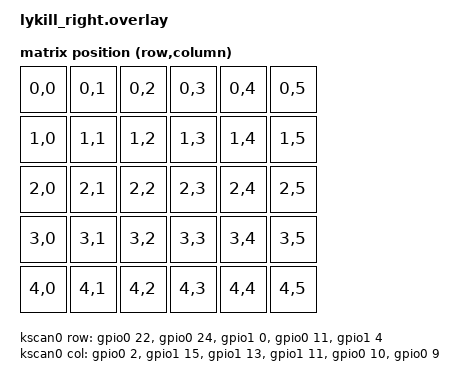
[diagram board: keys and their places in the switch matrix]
#include <dt-bindings/zmk/matrix_transform.h>

/ {
	chosen {
		zmk,kscan = &kscan0;
		zmk,matrix-transform = &default_transform;
	};

	default_transform: matrix_transform {
		compatible = "zmk,matrix-transform";
		rows = <5>;
		columns = <6>;
		map = <
			RC(0,0) RC(0,1) RC(0,2) RC(0,3) RC(0,4) RC(0,5)
			RC(1,0) RC(1,1) RC(1,2) RC(1,3) RC(1,4) RC(1,5)
			RC(2,0) RC(2,1) RC(2,2) RC(2,3) RC(2,4) RC(2,5)
			RC(3,0) RC(3,1) RC(3,2) RC(3,3) RC(3,4) RC(3,5)
			RC(4,0) RC(4,1) RC(4,2) RC(4,3) RC(4,4) RC(4,5)
		>;
	};

	kscan0: kscan0 {
		compatible = "zmk,kscan-gpio-matrix";
		diode-direction = "col2row";
		wakeup-source;
		debounce-press-ms = <20>;
		debounce-release-ms = <20>;
		debounce-scan-period-ms = <20>;
		poll-period-ms = <100>;

		row-gpios
			= <&gpio0 22 (GPIO_ACTIVE_HIGH | GPIO_PULL_DOWN)> //P0.22
			, <&gpio0 24 (GPIO_ACTIVE_HIGH | GPIO_PULL_DOWN)> //P0.24
			, <&gpio1 0 (GPIO_ACTIVE_HIGH | GPIO_PULL_DOWN)> //P1.00
			, <&gpio0 11 (GPIO_ACTIVE_HIGH | GPIO_PULL_DOWN)>//P0.11
			, <&gpio1 4 (GPIO_ACTIVE_HIGH | GPIO_PULL_DOWN)>//P1.04
			;

		col-gpios
			= <&gpio0 2 GPIO_ACTIVE_HIGH> //P0.02
			, <&gpio1 15 GPIO_ACTIVE_HIGH> //P1.15
			, <&gpio1 13 GPIO_ACTIVE_HIGH> //P1.13
			, <&gpio1 11 GPIO_ACTIVE_HIGH>	//P1.11
			, <&gpio0 10 GPIO_ACTIVE_HIGH>  //P0.10
            , <&gpio0 9 GPIO_ACTIVE_HIGH>	//P0.09
			;
	};
};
